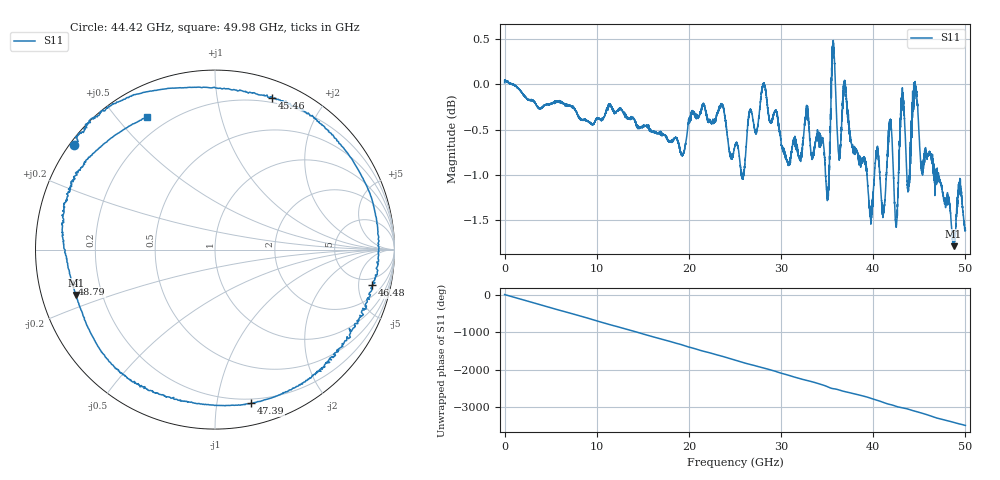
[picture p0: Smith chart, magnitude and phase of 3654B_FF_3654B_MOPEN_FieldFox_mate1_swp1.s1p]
!Created with skrf (http://scikit-rf.org).
# Hz S RI R 50.0
!freq ReS11 ImS11
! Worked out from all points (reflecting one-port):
!   10001 points, 300 kHz to 50 GHz, reference 50 ohm
!   lowest |S11| = -1.8 dB at 48.72 GHz (marker M1), VSWR 9.76, Z = 5.25 - j7.89 ohm
!   phase of S11 starts at 0 deg and turns -3484 deg over the sweep
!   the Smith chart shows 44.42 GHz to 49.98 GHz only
!   S11 on the Smith chart (normalised r, x): 44.42 GHz: 0.01, +0.33; 45.46 GHz: 0.15, +1.43; 46.48 GHz: 3.52, -7.25; 47.39 GHz: 0.17, -1.25; 48.79 GHz: 0.10, -0.12; 49.98 GHz: 0.13, +0.60
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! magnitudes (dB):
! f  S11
! 300 kHz  0.0
! 6.25 GHz  -0.2
! 12.5 GHz  -0.3
! 18.75 GHz  -0.6
! 25 GHz  -0.7
! 28.11 GHz  0.0
! 31.25 GHz  -0.7
! 32.79 GHz  -0.2
! 35.02 GHz  -1.2
! 35.68 GHz  0.4
! 36.27 GHz  -0.8
! 36.9 GHz  0.0
! 37.5 GHz  -0.6
! 39.74 GHz  -1.4
! 40.42 GHz  -0.7
! 41.14 GHz  -1.4
! 41.86 GHz  -0.4
! 42.48 GHz  -1.6
! 43.18 GHz  -0.1
! 43.75 GHz  -1.1
! 44.42 GHz  -0.2
! 45.46 GHz  -0.9
! 46.48 GHz  -0.9
! 47.39 GHz  -1.1
! 48.72 GHz  -1.8
! 48.79 GHz  -1.8
! 49.98 GHz  -1.6
! 50 GHz  -1.6
